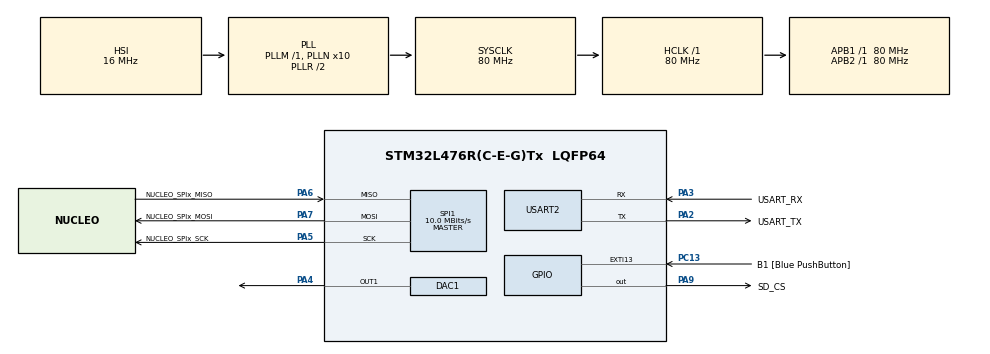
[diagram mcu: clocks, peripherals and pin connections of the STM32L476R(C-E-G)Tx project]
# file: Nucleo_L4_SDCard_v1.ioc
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DAC1.DAC_Trigger-DAC_OUT1=DAC_TRIGGER_T6_TRGO
DAC1.WaveGeneration-DAC_OUT1=DISABLE
Dma.DAC_CH1.0.Direction=DMA_MEMORY_TO_PERIPH
Dma.DAC_CH1.0.Instance=DMA1_Channel3
Dma.DAC_CH1.0.MemDataAlignment=DMA_MDATAALIGN_HALFWORD
Dma.DAC_CH1.0.MemInc=DMA_MINC_ENABLE
Dma.DAC_CH1.0.Mode=DMA_NORMAL
Dma.DAC_CH1.0.PeriphDataAlignment=DMA_PDATAALIGN_HALFWORD
Dma.DAC_CH1.0.PeriphInc=DMA_PINC_DISABLE
Dma.DAC_CH1.0.Priority=DMA_PRIORITY_LOW
Dma.Request0=DAC_CH1
Mcu.Family=STM32L4
Mcu.Name=STM32L476R(C-E-G)Tx
Mcu.Package=LQFP64
NVIC.DMA1_Channel3_IRQn=true\:0\:0\:false\:false\:true\:false\:true
NVIC.PriorityGroup=NVIC_PRIORITYGROUP_4
PA13\ (JTMS-SWDIO).GPIO_Label=TMS
PA13\ (JTMS-SWDIO).Mode=Serial_Wire
PA13\ (JTMS-SWDIO).Signal=SYS_JTMS-SWDIO
PA14\ (JTCK-SWCLK).GPIO_Label=TCK
PA14\ (JTCK-SWCLK).Mode=Serial_Wire
PA14\ (JTCK-SWCLK).Signal=SYS_JTCK-SWCLK
PA2.GPIO_Label=USART_TX
PA2.GPIO_Mode=GPIO_MODE_AF_PP
PA2.GPIO_PuPd=GPIO_NOPULL
PA2.GPIO_Speed=GPIO_SPEED_FREQ_VERY_HIGH
PA2.Mode=Asynchronous
PA2.Signal=USART2_TX
PA3.GPIO_Label=USART_RX
PA3.GPIO_Mode=GPIO_MODE_AF_PP
PA3.GPIO_PuPd=GPIO_NOPULL
PA3.GPIO_Speed=GPIO_SPEED_FREQ_VERY_HIGH
PA3.Mode=Asynchronous
PA3.Signal=USART2_RX
PA4.Signal=COMP_DAC11_group
PA5.GPIO_Label=NUCLEO_SPIx_SCK
PA5.Mode=Full_Duplex_Master
PA5.Signal=SPI1_SCK
PA6.GPIO_Label=NUCLEO_SPIx_MISO
PA6.Mode=Full_Duplex_Master
PA6.Signal=SPI1_MISO
PA7.GPIO_Label=NUCLEO_SPIx_MOSI
PA7.Mode=Full_Duplex_Master
PA7.Signal=SPI1_MOSI
PA9.GPIO_Label=SD_CS
PA9.Signal=GPIO_Output
PB3\ (JTDO-TRACESWO).Signal=SYS_JTDO-SWO
PC13.GPIO_Label=B1 [Blue PushButton]
PC13.GPIO_ModeDefaultEXTI=GPIO_MODE_IT_FALLING
PC13.GPIO_PuPd=GPIO_NOPULL
PC13.Signal=GPXTI13
PC14-OSC32_IN\ (PC14).Mode=LSE-External-Oscillator
PC14-OSC32_IN\ (PC14).Signal=RCC_OSC32_IN
PC15-OSC32_OUT\ (PC15).Mode=LSE-External-Oscillator
PC15-OSC32_OUT\ (PC15).Signal=RCC_OSC32_OUT
PH0-OSC_IN\ (PH0).Signal=RCC_OSC_IN
PH1-OSC_OUT\ (PH1).Signal=RCC_OSC_OUT
ProjectManager.HeapSize=0x200
ProjectManager.StackSize=0x400
ProjectManager.TargetToolchain=STM32CubeIDE
RCC.ADCFreq_Value=64000000
RCC.AHBFreq_Value=80000000
RCC.APB1Freq_Value=80000000
RCC.APB1TimFreq_Value=80000000
RCC.APB2Freq_Value=80000000
RCC.APB2TimFreq_Value=80000000
RCC.CortexFreq_Value=80000000
RCC.HCLKFreq_Value=80000000
RCC.HSE_VALUE=8000000
RCC.HSI_VALUE=16000000
RCC.MSI_VALUE=4000000
RCC.PLLN=10
RCC.PLLSourceVirtual=RCC_PLLSOURCE_HSI
RCC.PREFETCH_ENABLE=1
RCC.SYSCLKFreq_VALUE=80000000
RCC.SYSCLKSource=RCC_SYSCLKSOURCE_PLLCLK
RCC.USBFreq_Value=64000000
RCC.VCOOutputFreq_Value=160000000
SH.COMP_DAC11_group.0=DAC1_OUT1,DAC_OUT1
SPI1.BaudRatePrescaler=SPI_BAUDRATEPRESCALER_8
SPI1.CalculateBaudRate=10.0 MBits/s
SPI1.DataSize=SPI_DATASIZE_8BIT
SPI1.Direction=SPI_DIRECTION_2LINES
SPI1.Mode=SPI_MODE_MASTER
SPI1.VirtualType=VM_MASTER
USART2.VirtualMode-Asynchronous=VM_ASYNC
board=NUCLEO-L476RG

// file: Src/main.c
/* USER CODE BEGIN Header */
/**
  ******************************************************************************
  * @file           : main.c
  * @brief          : Main program body
  ******************************************************************************
  * @attention
  *
  * <h2><center>&copy; Copyright (c) 2019 STMicroelectronics.
  * All rights reserved.</center></h2>
  *
  * This software component is licensed by ST under BSD 3-Clause license,
  * the "License"; You may not use this file except in compliance with the
  * License. You may obtain a copy of the License at:
  *                        opensource.org/licenses/BSD-3-Clause
  *
  ******************************************************************************
  */
/* USER CODE END Header */

#include "main.h"

/* USER CODE BEGIN Includes */
typedef enum {
  SHIELD_NOT_DETECTED = 0,
  SHIELD_DETECTED
}ShieldStatus;

/* Private define ------------------------------------------------------------*/
#define SD_CARD_NOT_FORMATTED                    0
#define SD_CARD_FILE_NOT_SUPPORTED               1
#define SD_CARD_OPEN_FAIL                        2
#define FATFS_NOT_MOUNTED                        3

/* USER CODE END Includes */

DAC_HandleTypeDef hdac1;
DMA_HandleTypeDef hdma_dac_ch1;

SPI_HandleTypeDef hspi1;

UART_HandleTypeDef huart2;

/* USER CODE BEGIN PV */
uint8_t BlinkSpeed = 0, str[20];
__IO uint8_t JoystickValue = 0;
char* pDirectoryFiles[MAX_BMP_FILES];
FIL MyFile;     /* File object */
FATFS SD_FatFs;  /* File system object for SD card logical drive */
char SD_Path[4]; /* SD card logical drive path */
static uint8_t buffer[_MAX_SS]; /* a work buffer for the f_mkfs() */
/* USER CODE END PV */

void SystemClock_Config(void);
static void MX_GPIO_Init(void);
static void MX_SPI1_Init(void);
static void MX_USART2_UART_Init(void);
static void MX_DMA_Init(void);
static void MX_DAC1_Init(void);
/* USER CODE BEGIN PFP */

#ifdef __GNUC__
  /* With GCC, small printf (option LD Linker->Libraries->Small printf
     set to 'Yes') calls __io_putchar() */
  #define PUTCHAR_PROTOTYPE int __io_putchar(int ch)
#else
  #define PUTCHAR_PROTOTYPE int fputc(int ch, FILE *f)
#endif /* __GNUC__ */

/* USER CODE END PFP */

int main(void)
{
  /* USER CODE BEGIN 1 */
	  FRESULT res;                                          /* FatFs function common result code */
	  uint32_t byteswritten, bytesread;                     /* File write/read counts */
	  uint8_t wtext[] = "This is STM32 Sparfun Board working with FatFs"; /* File write buffer */
	  uint8_t rtext[100];                                   /* File read buffer */
  /* USER CODE END 1 */

  /* MCU Configuration--------------------------------------------------------*/

  /* Reset of all peripherals, Initializes the Flash interface and the Systick. */
  HAL_Init();

  /* Configure the system clock */
  SystemClock_Config();

  /* Initialize all configured peripherals */
  MX_GPIO_Init();
  MX_SPI1_Init();
  MX_USART2_UART_Init();
  MX_DMA_Init();
  MX_DAC1_Init();
  /* USER CODE BEGIN 2 */

  printf("start\n");

  //SD_IO_Init();

  BSP_LED_Off(LED2);

  /*##-1- Link the SD disk I/O driver ########################################*/
  if(FATFS_LinkDriver(&SD_Driver, SD_Path) == 0)
  {
    /*##-2- Register the file system object to the FatFs module ##############*/
    if(f_mount(&SD_FatFs, (TCHAR const*)SD_Path, 0) != FR_OK)
    {
      /* FatFs Initialization Error */
      Error_Handler();
    }
    else
    {
      /*##-3- Create a FAT file system (format) on the logical drive #########*/
      if(f_mkfs((TCHAR const*)SD_Path, FM_ANY, 0, buffer, sizeof(buffer)) != FR_OK)
      {
        Error_Handler();
      }
      else
      {
        /*##-4- Create and Open a new text file object with write access #####*/
        if(f_open(&MyFile, "STM32.TXT", FA_CREATE_ALWAYS | FA_WRITE) != FR_OK)
        {
          /* 'STM32.TXT' file Open for write Error */
          Error_Handler();
        }
        else
        {
          /*##-5- Write data to the text file ################################*/
          res = f_write(&MyFile, wtext, sizeof(wtext), (void *)&byteswritten);

          if((byteswritten == 0) || (res != FR_OK))
          {
            /* 'STM32.TXT' file Write or EOF Error */
            Error_Handler();
          }
          else
          {
            /*##-6- Close the open text file #################################*/
            f_close(&MyFile);

            /*##-7- Open the text file object with read access ###############*/
            if(f_open(&MyFile, "STM32.TXT", FA_READ) != FR_OK)
            {
              /* 'STM32.TXT' file Open for read Error */
              Error_Handler();
            }
            else
            {
              /*##-8- Read data from the text file ###########################*/
              res = f_read(&MyFile, rtext, sizeof(rtext), (UINT*)&bytesread);

              if((bytesread == 0) || (res != FR_OK)) /* EOF or Error */
              {
                /* 'STM32.TXT' file Read or EOF Error */
                Error_Handler();
              }
              else
              {
                /*##-9- Close the open text file #############################*/
                f_close(&MyFile);

                /*##-10- Compare read data with the expected data ############*/
                if ((bytesread != byteswritten))
                {
                  /* Read data is different from the expected data */
                  Error_Handler();
                }
                else
                {
                  /* Success of the demo: no error occurrence */
                  BSP_LED_On(LED2);
                }
              }
            }
          }
        }
      }
    }
  }

  /*##-11- Unlink the SD disk I/O driver ####################################*/
  FATFS_UnLinkDriver(SD_Path);

  /* USER CODE END 2 */

  /* Infinite loop */
  while (1)
  {

  }
}

void SystemClock_Config(void)
{
  RCC_OscInitTypeDef RCC_OscInitStruct = {0};
  RCC_ClkInitTypeDef RCC_ClkInitStruct = {0};
  RCC_PeriphCLKInitTypeDef PeriphClkInit = {0};

  /** Initializes the CPU, AHB and APB busses clocks
  */
  RCC_OscInitStruct.OscillatorType = RCC_OSCILLATORTYPE_HSI;
  RCC_OscInitStruct.HSIState = RCC_HSI_ON;
  RCC_OscInitStruct.HSICalibrationValue = RCC_HSICALIBRATION_DEFAULT;
  RCC_OscInitStruct.PLL.PLLState = RCC_PLL_ON;
  RCC_OscInitStruct.PLL.PLLSource = RCC_PLLSOURCE_HSI;
  RCC_OscInitStruct.PLL.PLLM = 1;
  RCC_OscInitStruct.PLL.PLLN = 10;
  RCC_OscInitStruct.PLL.PLLP = RCC_PLLP_DIV7;
  RCC_OscInitStruct.PLL.PLLQ = RCC_PLLQ_DIV2;
  RCC_OscInitStruct.PLL.PLLR = RCC_PLLR_DIV2;
  if (HAL_RCC_OscConfig(&RCC_OscInitStruct) != HAL_OK)
  {
    Error_Handler();
  }
  /** Initializes the CPU, AHB and APB busses clocks
  */
  RCC_ClkInitStruct.ClockType = RCC_CLOCKTYPE_HCLK|RCC_CLOCKTYPE_SYSCLK
                              |RCC_CLOCKTYPE_PCLK1|RCC_CLOCKTYPE_PCLK2;
  RCC_ClkInitStruct.SYSCLKSource = RCC_SYSCLKSOURCE_PLLCLK;
  RCC_ClkInitStruct.AHBCLKDivider = RCC_SYSCLK_DIV1;
  RCC_ClkInitStruct.APB1CLKDivider = RCC_HCLK_DIV1;
  RCC_ClkInitStruct.APB2CLKDivider = RCC_HCLK_DIV1;

  if (HAL_RCC_ClockConfig(&RCC_ClkInitStruct, FLASH_LATENCY_4) != HAL_OK)
  {
    Error_Handler();
  }
  PeriphClkInit.PeriphClockSelection = RCC_PERIPHCLK_USART2;
  PeriphClkInit.Usart2ClockSelection = RCC_USART2CLKSOURCE_PCLK1;
  if (HAL_RCCEx_PeriphCLKConfig(&PeriphClkInit) != HAL_OK)
  {
    Error_Handler();
  }
  /** Configure the main internal regulator output voltage
  */
  if (HAL_PWREx_ControlVoltageScaling(PWR_REGULATOR_VOLTAGE_SCALE1) != HAL_OK)
  {
    Error_Handler();
  }
}

static void MX_DAC1_Init(void)
{

  DAC_ChannelConfTypeDef sConfig = {0};

  /** DAC Initialization
  */
  hdac1.Instance = DAC1;
  if (HAL_DAC_Init(&hdac1) != HAL_OK)
  {
    Error_Handler();
  }
  /** DAC channel OUT1 config
  */
  sConfig.DAC_SampleAndHold = DAC_SAMPLEANDHOLD_DISABLE;
  sConfig.DAC_Trigger = DAC_TRIGGER_T6_TRGO;
  sConfig.DAC_OutputBuffer = DAC_OUTPUTBUFFER_ENABLE;
  sConfig.DAC_ConnectOnChipPeripheral = DAC_CHIPCONNECT_DISABLE;
  sConfig.DAC_UserTrimming = DAC_TRIMMING_FACTORY;
  if (HAL_DAC_ConfigChannel(&hdac1, &sConfig, DAC_CHANNEL_1) != HAL_OK)
  {
    Error_Handler();
  }

}

static void MX_SPI1_Init(void)
{

  /* SPI1 parameter configuration*/
  hspi1.Instance = SPI1;
  hspi1.Init.Mode = SPI_MODE_MASTER;
  hspi1.Init.Direction = SPI_DIRECTION_2LINES;
  hspi1.Init.DataSize = SPI_DATASIZE_8BIT;
  hspi1.Init.CLKPolarity = SPI_POLARITY_LOW;
  hspi1.Init.CLKPhase = SPI_PHASE_1EDGE;
  hspi1.Init.NSS = SPI_NSS_SOFT;
  hspi1.Init.BaudRatePrescaler = SPI_BAUDRATEPRESCALER_8;
  hspi1.Init.FirstBit = SPI_FIRSTBIT_MSB;
  hspi1.Init.TIMode = SPI_TIMODE_DISABLE;
  hspi1.Init.CRCCalculation = SPI_CRCCALCULATION_DISABLE;
  hspi1.Init.CRCPolynomial = 7;
  hspi1.Init.CRCLength = SPI_CRC_LENGTH_DATASIZE;
  hspi1.Init.NSSPMode = SPI_NSS_PULSE_ENABLE;
  if (HAL_SPI_Init(&hspi1) != HAL_OK)
  {
    Error_Handler();
  }

}

static void MX_USART2_UART_Init(void)
{

  huart2.Instance = USART2;
  huart2.Init.BaudRate = 115200;
  huart2.Init.WordLength = UART_WORDLENGTH_8B;
  huart2.Init.StopBits = UART_STOPBITS_1;
  huart2.Init.Parity = UART_PARITY_NONE;
  huart2.Init.Mode = UART_MODE_TX_RX;
  huart2.Init.HwFlowCtl = UART_HWCONTROL_NONE;
  huart2.Init.OverSampling = UART_OVERSAMPLING_16;
  huart2.Init.OneBitSampling = UART_ONE_BIT_SAMPLE_DISABLE;
  huart2.AdvancedInit.AdvFeatureInit = UART_ADVFEATURE_NO_INIT;
  if (HAL_UART_Init(&huart2) != HAL_OK)
  {
    Error_Handler();
  }

}

static void MX_DMA_Init(void)
{

  /* DMA controller clock enable */
  __HAL_RCC_DMA1_CLK_ENABLE();

  /* DMA interrupt init */
  /* DMA1_Channel3_IRQn interrupt configuration */
  HAL_NVIC_SetPriority(DMA1_Channel3_IRQn, 0, 0);
  HAL_NVIC_EnableIRQ(DMA1_Channel3_IRQn);

}

static void MX_GPIO_Init(void)
{
  GPIO_InitTypeDef GPIO_InitStruct = {0};

  /* GPIO Ports Clock Enable */
  __HAL_RCC_GPIOC_CLK_ENABLE();
  __HAL_RCC_GPIOH_CLK_ENABLE();
  __HAL_RCC_GPIOA_CLK_ENABLE();
  __HAL_RCC_GPIOB_CLK_ENABLE();

  /*Configure GPIO pin Output Level */
  HAL_GPIO_WritePin(SD_CS_GPIO_Port, SD_CS_Pin, GPIO_PIN_RESET);

  /*Configure GPIO pin : B1_Pin */
  GPIO_InitStruct.Pin = B1_Pin;
  GPIO_InitStruct.Mode = GPIO_MODE_IT_FALLING;
  GPIO_InitStruct.Pull = GPIO_NOPULL;
  HAL_GPIO_Init(B1_GPIO_Port, &GPIO_InitStruct);

  /*Configure GPIO pin : SD_CS_Pin */
  GPIO_InitStruct.Pin = SD_CS_Pin;
  GPIO_InitStruct.Mode = GPIO_MODE_OUTPUT_PP;
  GPIO_InitStruct.Pull = GPIO_NOPULL;
  GPIO_InitStruct.Speed = GPIO_SPEED_FREQ_LOW;
  HAL_GPIO_Init(SD_CS_GPIO_Port, &GPIO_InitStruct);

}

void Error_Handler(void)
{
}

/************************ (C) COPYRIGHT STMicroelectronics *****END OF FILE****/
